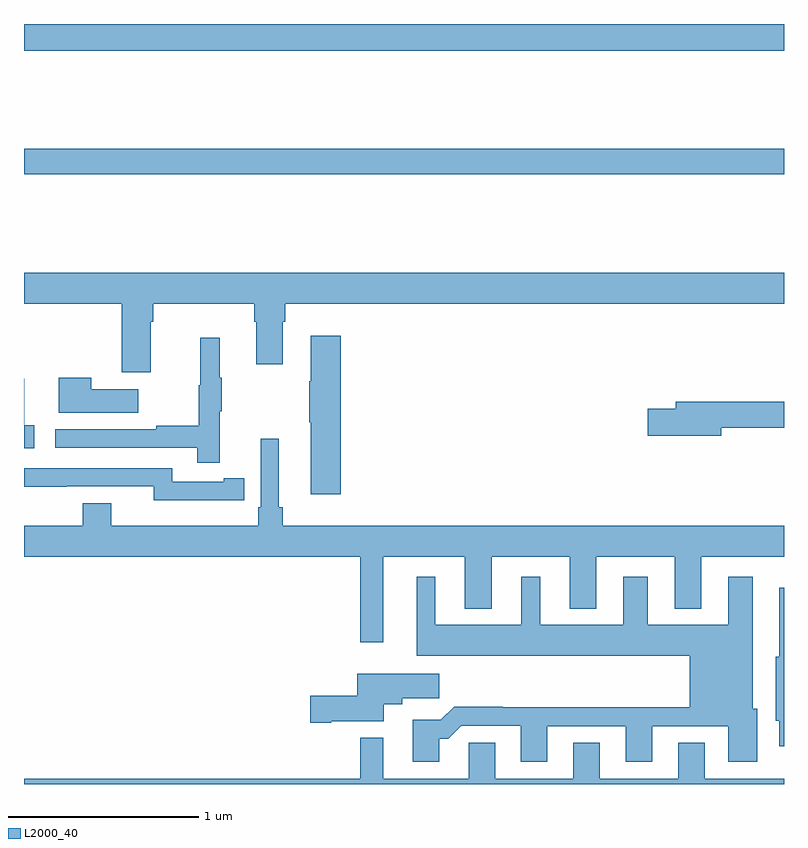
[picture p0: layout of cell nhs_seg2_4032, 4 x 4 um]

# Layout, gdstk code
import gdstk
lib = gdstk.Library(unit=1e-6, precision=1e-09)
def R(c, l, rs):  # rectangles x0, y0, x1, y1
    for r in rs: c.add(gdstk.rectangle(r[:2], r[2:], *l))
def P(c, l, *ps):  # polygons
    for p in ps: c.add(gdstk.Polygon(p, *l))
L2000_40 = (2000, 40)

nhs_seg2_4032 = lib.new_cell('nhs_seg2_4032')
R(nhs_seg2_4032, L2000_40, [(327,623.008,331,623.144), (327,623.66,331,623.8)])
P(nhs_seg2_4032, L2000_40, [(327.667,622.232),(327.68,622.232),(327.68,622.328),(328.211,622.328),(328.211,622.232),(328.223,622.232),(328.223,622.008),(328.363,622.008),(328.363,622.232),(328.376,622.232),(328.376,622.328),(331,622.328),(331,622.492),(327,622.492),(327,622.328),(327.515,622.328),(327.515,621.966),(327.667,621.966)],
  [(328.667,622.159),(328.508,622.159),(328.508,621.92),(328.501,621.92),(328.501,621.703),(328.508,621.703),(328.508,621.324),(328.667,621.324)],
  [(328.031,621.763),(328.042,621.763),(328.042,621.937),(328.031,621.937),(328.031,622.15),(327.928,622.15),(327.928,621.9),(327.921,621.9),(327.921,621.686),(327.697,621.686),(327.697,621.666),(327.165,621.666),(327.165,621.57),(327.913,621.57),(327.913,621.492),(328.031,621.492)],
  [(327.601,621.877),(327.353,621.877),(327.353,621.937),(327.182,621.937),(327.182,621.755),(327.601,621.755)],
  [(327.055,621.687),(327.002,621.687),(327.002,621.934),(327,621.934),(327,621.567),(327.055,621.567)],
  [(330.67,621.676),(331,621.676),(331,621.812),(330.431,621.812),(330.431,621.776),(330.282,621.776),(330.282,621.634),(330.67,621.634)],
  [(328.891,620.996),(329.321,620.996),(329.321,620.723),(329.461,620.723),(329.461,620.996),(329.873,620.996),(329.873,620.723),(330.013,620.723),(330.013,620.996),(330.425,620.996),(330.425,620.723),(330.565,620.723),(330.565,620.996),(331,620.996),(331,621.16),(328.361,621.16),(328.361,621.256),(328.342,621.256),(328.342,621.616),(328.245,621.616),(328.245,621.256),(328.232,621.256),(328.232,621.16),(327.46,621.16),(327.46,621.277),(327.308,621.277),(327.308,621.16),(327,621.16),(327,620.996),(328.77,620.996),(328.77,620.547),(328.891,620.547)],
  [(328.052,621.294),(328.16,621.294),(328.16,621.41),(328.052,621.41),(328.052,621.39),(327.78,621.39),(327.78,621.462),(327,621.462),(327,621.365),(327.224,621.365),(327.224,621.366),(327.684,621.366),(327.684,621.293),(328.052,621.293)],
  [(329.185,620.039),(329.234,620.039),(329.301,620.106),(329.615,620.106),(329.615,619.917),(329.755,619.917),(329.755,620.103),(330.167,620.103),(330.167,619.917),(330.307,619.917),(330.307,620.103),(330.707,620.103),(330.707,619.917),(330.859,619.917),(330.859,620.196),(330.835,620.196),(330.835,620.89),(330.707,620.89),(330.707,620.638),(330.283,620.638),(330.283,620.89),(330.155,620.89),(330.155,620.638),(329.716,620.638),(329.716,620.89),(329.618,620.89),(329.618,620.638),(329.164,620.638),(329.164,620.89),(329.066,620.89),(329.066,620.474),(330.503,620.474),(330.503,620.204),(329.519,620.204),(329.519,620.207),(329.264,620.207),(329.194,620.137),(329.045,620.137),(329.045,619.917),(329.185,619.917)],
  [(331,620.833),(330.974,620.833),(330.974,620.469),(330.956,620.469),(330.956,620.133),(330.974,620.133),(330.974,619.998),(331,619.998)],
  [(328.618,620.129),(328.894,620.129),(328.894,620.219),(328.99,620.219),(328.99,620.251),(329.185,620.251),(329.185,620.38),(328.754,620.38),(328.754,620.264),(328.506,620.264),(328.506,620.122),(328.618,620.122)],
  [(331,619.828),(330.583,619.828),(330.583,620.018),(330.443,620.018),(330.443,619.828),(330.031,619.828),(330.031,620.018),(329.891,620.018),(329.891,619.828),(329.479,619.828),(329.479,620.018),(329.34,620.018),(329.34,619.828),(328.891,619.828),(328.891,620.044),(328.77,620.044),(328.77,619.828),(327,619.828),(327,619.8),(331,619.8)])

lib.write_gds('nhs_seg2_4032.gds')
